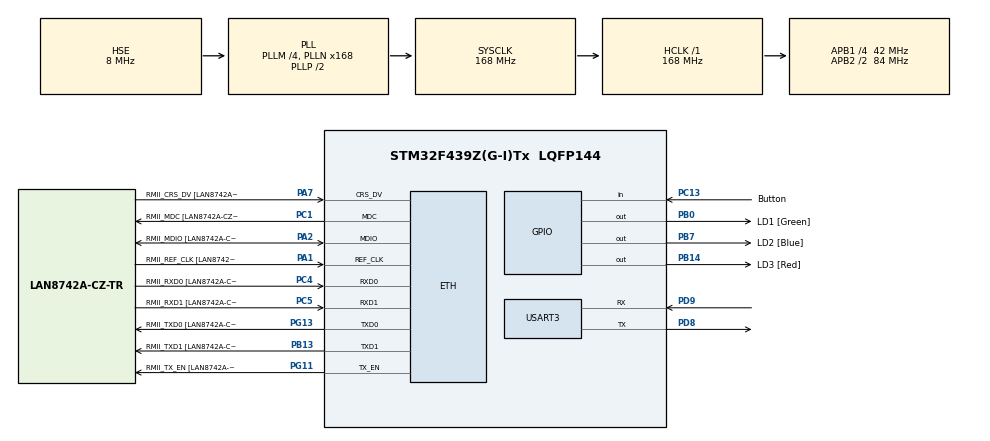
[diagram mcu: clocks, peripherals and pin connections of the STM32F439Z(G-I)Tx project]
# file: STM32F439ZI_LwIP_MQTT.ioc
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ETH.MediaInterface=HAL_ETH_RMII_MODE
ETH.PHY_Name=LAN8742A_PHY_ADDRESS
ETH.PHY_Value=0
ETH.PhyAddress=0
FREERTOS.Tasks01=defaultTask,0,512,StartDefaultTask,Default,NULL,Dynamic,NULL,NULL
FREERTOS.configCHECK_FOR_STACK_OVERFLOW=2
FREERTOS.configENABLE_FPU=1
FREERTOS.configMINIMAL_STACK_SIZE=512
FREERTOS.configTOTAL_HEAP_SIZE=32768
FREERTOS.configUSE_NEWLIB_REENTRANT=1
LWIP.BSP.number=1
LWIP.CHECKSUM_CHECK_ICMP=0
LWIP.CHECKSUM_GEN_ICMP=0
LWIP.GATEWAY_ADDRESS=000.000.000.000
LWIP.IP_ADDRESS=192.168.001.3
LWIP.LWIP_DHCP=0
LWIP.LWIP_RAM_HEAP_POINTER=0x2000C000
LWIP.LWIP_SO_RCVBUF=1
LWIP.MEM_SIZE=2048
LWIP.NETMASK_ADDRESS=255.255.255.000
LWIP.Version=v2.1.2_Cube
LWIP0.BSP.STBoard=false
LWIP0.BSP.api=BSP_COMPONENT_DRIVER
LWIP0.BSP.component=LAN8742
LWIP0.BSP.instance=LAN8742
LWIP0.BSP.name=Driver_PHY
LWIP0.BSP.semaphore=S_LAN8742
LWIP0.BSP.solution=LAN8742
Mcu.Family=STM32F4
Mcu.Name=STM32F439Z(G-I)Tx
Mcu.Package=LQFP144
NVIC.ETH_IRQn=true\:5\:0\:false\:false\:true\:true\:false\:true\:true
NVIC.PriorityGroup=NVIC_PRIORITYGROUP_4
NVIC.TIM6_DAC_IRQn=true\:15\:0\:false\:false\:true\:false\:false\:true\:true
NVIC.TimeBase=TIM6_DAC_IRQn
NVIC.TimeBaseIP=TIM6
NVIC.USART3_IRQn=true\:5\:0\:false\:false\:true\:true\:true\:true\:true
PA1.GPIO_Label=RMII_REF_CLK [LAN8742A-CZ-TR_REFCLK0]
PA1.Mode=RMII
PA1.Signal=ETH_REF_CLK
PA13.GPIO_Label=TMS
PA13.Mode=Serial_Wire
PA13.Signal=SYS_JTMS-SWDIO
PA14.GPIO_Label=TCK
PA14.Mode=Serial_Wire
PA14.Signal=SYS_JTCK-SWCLK
PA2.GPIO_Label=RMII_MDIO [LAN8742A-CZ-TR_MDIO]
PA2.Mode=RMII
PA2.Signal=ETH_MDIO
PA7.GPIO_Label=RMII_CRS_DV [LAN8742A-CZ-TR_CRS_DV]
PA7.Mode=RMII
PA7.Signal=ETH_CRS_DV
PB0.GPIO_Label=LD1 [Green]
PB0.Signal=GPIO_Output
PB13.GPIO_Label=RMII_TXD1 [LAN8742A-CZ-TR_TXD1]
PB13.Mode=RMII
PB13.Signal=ETH_TXD1
PB14.GPIO_Label=LD3 [Red]
PB14.Signal=GPIO_Output
PB7.GPIO_Label=LD2 [Blue]
PB7.Signal=GPIO_Output
PC1.GPIO_Label=RMII_MDC [LAN8742A-CZ-TR_MDC]
PC1.Mode=RMII
PC1.Signal=ETH_MDC
PC13.GPIO_Label=Button
PC13.Signal=GPIO_Input
PC14/OSC32_IN.Signal=RCC_OSC32_IN
PC15/OSC32_OUT.Signal=RCC_OSC32_OUT
PC4.GPIO_Label=RMII_RXD0 [LAN8742A-CZ-TR_RXD0]
PC4.Mode=RMII
PC4.Signal=ETH_RXD0
PC5.GPIO_Label=RMII_RXD1 [LAN8742A-CZ-TR_RXD1]
PC5.Mode=RMII
PC5.Signal=ETH_RXD1
PD8.Mode=Asynchronous
PD8.Signal=USART3_TX
PD9.Mode=Asynchronous
PD9.Signal=USART3_RX
PG11.GPIO_Label=RMII_TX_EN [LAN8742A-CZ-TR_TXEN]
PG11.Mode=RMII
PG11.Signal=ETH_TX_EN
PG13.GPIO_Label=RMII_TXD0 [LAN8742A-CZ-TR_TXD0]
PG13.Mode=RMII
PG13.Signal=ETH_TXD0
PH0/OSC_IN.GPIO_Label=MCO [STM32F103CBT6_PA8]
PH0/OSC_IN.Mode=HSE-External-Oscillator
PH0/OSC_IN.Signal=RCC_OSC_IN
PH1/OSC_OUT.Mode=HSE-External-Oscillator
PH1/OSC_OUT.Signal=RCC_OSC_OUT
ProjectManager.HeapSize=0x1000
ProjectManager.StackSize=0x1000
ProjectManager.TargetToolchain=CMake
RCC.48MHZClocksFreq_Value=48000000
RCC.AHBFreq_Value=168000000
RCC.APB1CLKDivider=RCC_HCLK_DIV4
RCC.APB1Freq_Value=42000000
RCC.APB1TimFreq_Value=84000000
RCC.APB2CLKDivider=RCC_HCLK_DIV2
RCC.APB2Freq_Value=84000000
RCC.APB2TimCLKDivider=2
RCC.APB2TimFreq_Value=168000000
RCC.CortexFreq_Value=168000000
RCC.HCLKFreq_Value=168000000
RCC.HSE_VALUE=8000000
RCC.HSI_VALUE=16000000
RCC.LSE_VALUE=32768
RCC.PLLM=4
RCC.PLLMUL=RCC_PLL_MUL9
RCC.PLLN=168
RCC.PLLQ=7
RCC.PLLSourceVirtual=RCC_PLLSOURCE_HSE
RCC.PRESCALERUSB=RCC_USBCLKSOURCE_PLL_DIV1_5
RCC.SYSCLKFreq_VALUE=168000000
RCC.SYSCLKSource=RCC_SYSCLKSOURCE_PLLCLK
RCC.SYSCLKSourceVirtual=RCC_SYSCLKSOURCE_PLLCLK
RCC.USBFreq_Value=48000000
RCC.VCOOutputFreq_Value=336000000
USART3.VirtualMode=VM_ASYNC
VP_FREERTOS_VS_CMSIS_V1.Mode=CMSIS_V1
VP_LWIP_VS_Enabled.Mode=Enabled
VP_SYS_VS_tim6.Mode=TIM6
board=NUCLEO-F439ZI

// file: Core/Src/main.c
/* USER CODE BEGIN Header */
/**
 ******************************************************************************
 * @file           : main.c
 * @brief          : Main program body
 ******************************************************************************
 * @attention
 *
 * Copyright (c) 2025 STMicroelectronics.
 * All rights reserved.
 *
 * This software is licensed under terms that can be found in the LICENSE file
 * in the root directory of this software component.
 * If no LICENSE file comes with this software, it is provided AS-IS.
 *
 ******************************************************************************
 */
/* USER CODE END Header */
#include "main.h"
#include "cmsis_os.h"
#include "lwip.h"
#include "usart.h"
#include "gpio.h"

/* USER CODE BEGIN PV */
extern uint32_t MilliTimer;
/* USER CODE END PV */

void SystemClock_Config(void);
void MX_FREERTOS_Init(void);

/* USER CODE BEGIN 0 */
int __io_putchar (int ch)
{
  HAL_UART_Transmit(&huart3, (const uint8_t*)&ch, 1, 10);
  return ch;
}

/* USER CODE END 0 */

int main(void)
{

  /* MCU Configuration--------------------------------------------------------*/

  /* Reset of all peripherals, Initializes the Flash interface and the Systick. */
  HAL_Init();

  /* Configure the system clock */
  SystemClock_Config();

  /* Initialize all configured peripherals */
  MX_GPIO_Init();
  MX_USART3_UART_Init();

  /* Call init function for freertos objects (in cmsis_os2.c) */
  MX_FREERTOS_Init();

  /* Start scheduler */
  osKernelStart();

  /* We should never get here as control is now taken by the scheduler */

  /* Infinite loop */
  while (1)
  {

  }
}

void SystemClock_Config(void)
{
  RCC_OscInitTypeDef RCC_OscInitStruct = {0};
  RCC_ClkInitTypeDef RCC_ClkInitStruct = {0};

  /** Configure the main internal regulator output voltage
  */
  __HAL_RCC_PWR_CLK_ENABLE();
  __HAL_PWR_VOLTAGESCALING_CONFIG(PWR_REGULATOR_VOLTAGE_SCALE1);

  /** Initializes the RCC Oscillators according to the specified parameters
  * in the RCC_OscInitTypeDef structure.
  */
  RCC_OscInitStruct.OscillatorType = RCC_OSCILLATORTYPE_HSE;
  RCC_OscInitStruct.HSEState = RCC_HSE_ON;
  RCC_OscInitStruct.PLL.PLLState = RCC_PLL_ON;
  RCC_OscInitStruct.PLL.PLLSource = RCC_PLLSOURCE_HSE;
  RCC_OscInitStruct.PLL.PLLM = 4;
  RCC_OscInitStruct.PLL.PLLN = 168;
  RCC_OscInitStruct.PLL.PLLP = RCC_PLLP_DIV2;
  RCC_OscInitStruct.PLL.PLLQ = 7;
  if (HAL_RCC_OscConfig(&RCC_OscInitStruct) != HAL_OK)
  {
    Error_Handler();
  }

  /** Initializes the CPU, AHB and APB buses clocks
  */
  RCC_ClkInitStruct.ClockType = RCC_CLOCKTYPE_HCLK|RCC_CLOCKTYPE_SYSCLK
                              |RCC_CLOCKTYPE_PCLK1|RCC_CLOCKTYPE_PCLK2;
  RCC_ClkInitStruct.SYSCLKSource = RCC_SYSCLKSOURCE_PLLCLK;
  RCC_ClkInitStruct.AHBCLKDivider = RCC_SYSCLK_DIV1;
  RCC_ClkInitStruct.APB1CLKDivider = RCC_HCLK_DIV4;
  RCC_ClkInitStruct.APB2CLKDivider = RCC_HCLK_DIV2;

  if (HAL_RCC_ClockConfig(&RCC_ClkInitStruct, FLASH_LATENCY_5) != HAL_OK)
  {
    Error_Handler();
  }
}

void HAL_TIM_PeriodElapsedCallback(TIM_HandleTypeDef *htim)
{
  if (htim->Instance == TIM6) {
    HAL_IncTick();
  }
  /* USER CODE BEGIN Callback 1 */
  if (htim->Instance == TIM6) {
    MilliTimer++;
  }

  /* USER CODE END Callback 1 */
}

void Error_Handler(void)
{
  __disable_irq();
  while (1)
  {
  }
}

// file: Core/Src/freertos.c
/* USER CODE BEGIN Header */
/**
 ******************************************************************************
 * File Name          : freertos.c
 * Description        : Code for freertos applications
 ******************************************************************************
 * @attention
 *
 * Copyright (c) 2022 STMicroelectronics.
 * All rights reserved.
 *
 * This software is licensed under terms that can be found in the LICENSE file
 * in the root directory of this software component.
 * If no LICENSE file comes with this software, it is provided AS-IS.
 *
 ******************************************************************************
 */
/* USER CODE END Header */

#include "FreeRTOS.h"
#include "task.h"
#include "main.h"
#include "cmsis_os.h"

/* USER CODE BEGIN Includes */
#include <string.h>
#include "lwip.h"
#include "lwip/api.h"
#include "MQTTClient.h"
#include "MQTTInterface.h"

/* USER CODE END Includes */

/* USER CODE BEGIN PD */
#define BROKER_IP		"192.168.1.2"
#define MQTT_PORT		1883
#define MQTT_BUFSIZE	1024

/* USER CODE END PD */

/* USER CODE BEGIN Variables */
extern struct netif gnetif; //extern gnetif

osThreadId mqttClientSubTaskHandle;  //mqtt client task handle
osThreadId mqttClientPubTaskHandle;  //mqtt client task handle

Network net; //mqtt network
MQTTClient mqttClient; //mqtt client

uint8_t sndBuffer[MQTT_BUFSIZE]; //mqtt send buffer
uint8_t rcvBuffer[MQTT_BUFSIZE]; //mqtt receive buffer
uint8_t msgBuffer[MQTT_BUFSIZE]; //mqtt message buffer

/* USER CODE END Variables */
osThreadId defaultTaskHandle;

/* USER CODE BEGIN FunctionPrototypes */
void MqttClientSubTask(void const *argument); //mqtt client subscribe task function
void MqttClientPubTask(void const *argument); //mqtt client publish task function
int  MqttConnectBroker(void); 				//mqtt broker connect function
void MqttMessageArrived(MessageData* msg); //mqtt message callback function

/* USER CODE END FunctionPrototypes */

void StartDefaultTask(void const * argument);

extern void MX_LWIP_Init(void);
void MX_FREERTOS_Init(void); /* (MISRA C 2004 rule 8.1) */

/* GetIdleTaskMemory prototype (linked to static allocation support) */
void vApplicationGetIdleTaskMemory( StaticTask_t **ppxIdleTaskTCBBuffer, StackType_t **ppxIdleTaskStackBuffer, uint32_t *pulIdleTaskStackSize );

/* Hook prototypes */
void vApplicationStackOverflowHook(xTaskHandle xTask, signed char *pcTaskName);

/* USER CODE BEGIN 4 */
void vApplicationStackOverflowHook(xTaskHandle xTask, signed char *pcTaskName)
{
  /* Run time stack overflow checking is performed if
   configCHECK_FOR_STACK_OVERFLOW is defined to 1 or 2. This hook function is
   called if a stack overflow is detected. */
  HAL_GPIO_WritePin(LD3_GPIO_Port, LD3_Pin, GPIO_PIN_SET); //turn on red led when detects stack overflow
}
/* USER CODE END 4 */

/* USER CODE BEGIN GET_IDLE_TASK_MEMORY */
static StaticTask_t xIdleTaskTCBBuffer;
static StackType_t xIdleStack[configMINIMAL_STACK_SIZE];

void vApplicationGetIdleTaskMemory( StaticTask_t **ppxIdleTaskTCBBuffer, StackType_t **ppxIdleTaskStackBuffer, uint32_t *pulIdleTaskStackSize )
{
  *ppxIdleTaskTCBBuffer = &xIdleTaskTCBBuffer;
  *ppxIdleTaskStackBuffer = &xIdleStack[0];
  *pulIdleTaskStackSize = configMINIMAL_STACK_SIZE;
  /* place for user code */
}
/* USER CODE END GET_IDLE_TASK_MEMORY */

void MX_FREERTOS_Init(void) {

  /* Create the thread(s) */
  /* definition and creation of defaultTask */
  osThreadDef(defaultTask, StartDefaultTask, osPriorityNormal, 0, 512);
  defaultTaskHandle = osThreadCreate(osThread(defaultTask), NULL);

}

void StartDefaultTask(void const * argument)
{
  /* init code for LWIP */
  MX_LWIP_Init();
  /* USER CODE BEGIN StartDefaultTask */
  osThreadDef(mqttClientSubTask, MqttClientSubTask, osPriorityNormal, 0, configMINIMAL_STACK_SIZE); //subscribe task
  osThreadDef(mqttClientPubTask, MqttClientPubTask, osPriorityNormal, 0, configMINIMAL_STACK_SIZE); //publish task
  mqttClientSubTaskHandle = osThreadCreate(osThread(mqttClientSubTask), NULL);

  osDelay(1000);

  mqttClientPubTaskHandle = osThreadCreate(osThread(mqttClientPubTask), NULL);

  /* Infinite loop */
  for(;;)
  {
    osDelay(1);
  }
  /* USER CODE END StartDefaultTask */
}

/* USER CODE BEGIN Application */
void MqttClientSubTask(void const *argument)
{
  printf( "start MQTT Subscribe Task\r\n");

  while(1)
  {
    //waiting for valid ip address
    if (gnetif.ip_addr.addr == 0 || gnetif.netmask.addr == 0 )//|| gnetif.gw.addr == 0) //system has no valid ip address
    {
      osDelay(1000);
      continue;
    }
    else
    {
      printf("DHCP/Static IP O.K.\r\n");
      break;
    }
  }

  printf( "Run MQTT Subscribe Task\r\n");

  while(1)
  {
    if(!mqttClient.isconnected)
    {
      //try to connect to the broker
      MQTTDisconnect(&mqttClient);
      MqttConnectBroker();
      osDelay(1000);
    }
    else
    {
      MQTTYield(&mqttClient, 1000); //handle timer
      osDelay(100);
    }

    //printf( "Run MQTT Subscribe Task\r\n");
  }
}

void MqttClientPubTask(void const *argument)
{
  int count = 0;
  uint8_t buff[64];

  MQTTMessage message;

  printf( "start MQTT Publish Task\r\n");

  while(1)
  {
    if(mqttClient.isconnected)
    {
      memset(buff, 0, sizeof(buff));
      snprintf((char*)buff, sizeof(buff), "%d", count++);
      message.payload = (void*)buff;
      message.payloadlen = strlen((char*)buff);

      if(MQTTPublish(&mqttClient, "test", &message) != MQTT_SUCCESS)
      {
         printf( "MQTTPublish failed.\r\n" );
        MQTTCloseSession(&mqttClient);
        mqtt_net_disconnect(&net);
      }
    }

    osDelay(1000);
    //printf( "Run MQTT Publish Task\r\n");
  }
}

int MqttConnectBroker()
{
  int ret;

  printf( "start MQTT Connect Broker\r\n");

  configureNetworkObject(&net);
  ret = connectNetwork(&net, BROKER_IP, MQTT_PORT);
  if(ret != MQTT_SUCCESS)
  {
    printf("connectNetwork failed.\n");
    mqtt_net_disconnect(&net);
    return -1;
  }

  printf( "MQTTPacket_connectData O.K\r\n");

  MQTTClientInit(&mqttClient, &net, 1000, sndBuffer, sizeof(sndBuffer), rcvBuffer, sizeof(rcvBuffer));

  MQTTPacket_connectData data = MQTTPacket_connectData_initializer;
  data.willFlag = 0;
  data.MQTTVersion = 3;
  data.clientID.cstring = "STM32F4";
  data.username.cstring = "STM32F4";
  data.password.cstring = "";
  data.keepAliveInterval = 60;
  data.cleansession = 1;

  ret = MQTTConnect(&mqttClient, &data);
  if(ret != MQTT_SUCCESS)
  {
    printf("MQTTConnect failed.\n");
    MQTTCloseSession(&mqttClient);
    mqtt_net_disconnect(&net);
    return ret;
  }

  ret = MQTTSubscribe(&mqttClient, "test", QOS0, MqttMessageArrived);
  if(ret != MQTT_SUCCESS)
  {
    printf("MQTTSubscribe failed.\n");
    MQTTCloseSession(&mqttClient);
    mqtt_net_disconnect(&net);
    return ret;
  }

  printf("MQTT_ConnectBroker O.K.\r\n");
  return MQTT_SUCCESS;
}

void MqttMessageArrived(MessageData* msg)
{
  HAL_GPIO_TogglePin(LD2_GPIO_Port, LD2_Pin); //toggle pin when new message arrived

  MQTTMessage* message = msg->message;
  memset(msgBuffer, 0, sizeof(msgBuffer));
  memcpy(msgBuffer, message->payload,message->payloadlen);

  printf("MQTT MSG[%d]:%s\r\n", (int)message->payloadlen, msgBuffer);
}

/* USER CODE END Application */
